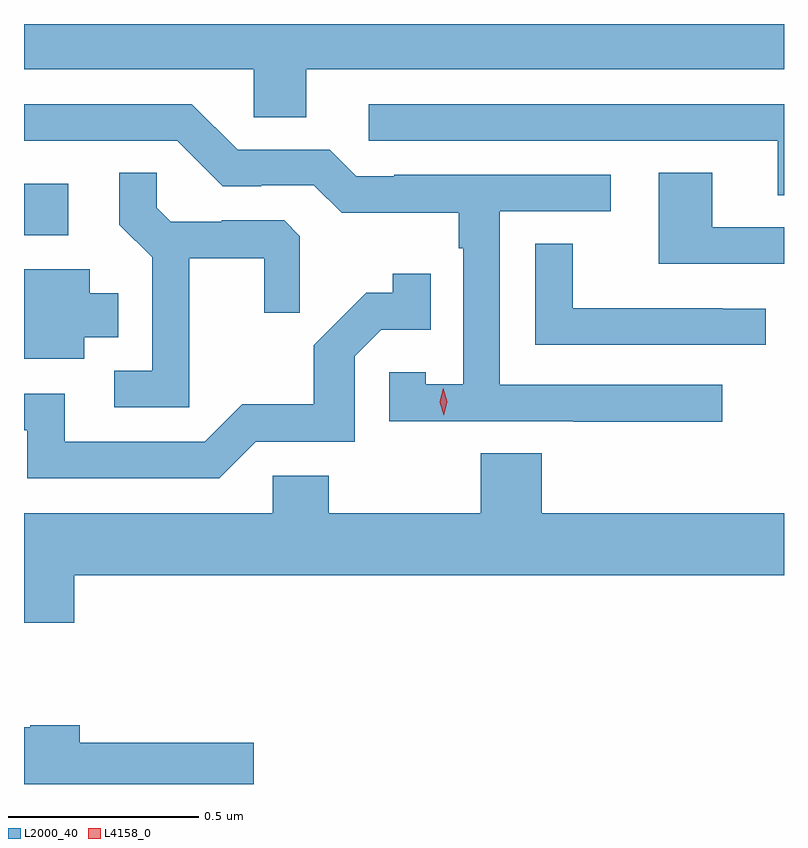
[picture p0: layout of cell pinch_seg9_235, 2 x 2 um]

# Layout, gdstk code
import gdstk
lib = gdstk.Library(unit=1e-6, precision=1e-09)
def R(c, l, rs):  # rectangles x0, y0, x1, y1
    for r in rs: c.add(gdstk.rectangle(r[:2], r[2:], *l))
def P(c, l, *ps):  # polygons
    for p in ps: c.add(gdstk.Polygon(p, *l))
L2000_40 = (2000, 40)
L4158_0 = (4158, 0)

pinch_seg9_235 = lib.new_cell('pinch_seg9_235')
R(pinch_seg9_235, L2000_40, [(433.97,1227.951,434.086,1228.087)])
P(pinch_seg9_235, L2000_40, [(434.713,1228.388),(435.97,1228.388),(435.97,1228.507),(433.97,1228.507),(433.97,1228.388),(434.574,1228.388),(434.574,1228.261),(434.713,1228.261)],
  [(435.97,1228.296),(434.877,1228.296),(434.877,1228.2),(435.953,1228.2),(435.953,1228.057),(435.97,1228.057)],
  [(435.808,1227.558),(435.222,1227.558),(435.222,1228.014),(435.514,1228.014),(435.514,1228.11),(434.944,1228.11),(434.944,1228.107),(434.844,1228.107),(434.775,1228.176),(434.532,1228.176),(434.412,1228.296),(433.97,1228.296),(433.97,1228.2),(434.373,1228.2),(434.493,1228.08),(434.594,1228.08),(434.594,1228.083),(434.733,1228.083),(434.806,1228.01),(435.114,1228.01),(435.114,1227.917),(435.126,1227.917),(435.126,1227.559),(435.027,1227.559),(435.027,1227.591),(434.931,1227.591),(434.931,1227.462),(435.415,1227.462),(435.415,1227.46),(435.808,1227.46)],
  [(435.97,1227.972),(435.781,1227.972),(435.781,1228.115),(435.641,1228.115),(435.641,1227.876),(435.97,1227.876)],
  [(434.405,1227.89),(434.602,1227.89),(434.602,1227.747),(434.696,1227.747),(434.696,1227.949),(434.655,1227.99),(434.49,1227.99),(434.49,1227.987),(434.356,1227.987),(434.319,1228.024),(434.319,1228.115),(434.221,1228.115),(434.221,1227.979),(434.307,1227.893),(434.307,1227.594),(434.208,1227.594),(434.208,1227.498),(434.405,1227.498)],
  [(435.922,1227.758),(435.809,1227.758),(435.809,1227.759),(435.414,1227.759),(435.414,1227.929),(435.315,1227.929),(435.315,1227.663),(435.922,1227.663)],
  [(434.128,1227.683),(434.218,1227.683),(434.218,1227.799),(434.143,1227.799),(434.143,1227.862),(433.97,1227.862),(433.97,1227.626),(434.128,1227.626)],
  [(434.58,1227.408),(434.841,1227.408),(434.841,1227.633),(434.91,1227.702),(435.041,1227.702),(435.041,1227.85),(434.94,1227.85),(434.94,1227.8),(434.87,1227.8),(434.733,1227.662),(434.733,1227.507),(434.544,1227.507),(434.445,1227.408),(434.077,1227.408),(434.077,1227.534),(433.97,1227.534),(433.97,1227.438),(433.979,1227.438),(433.979,1227.312),(434.484,1227.312)],
  [(434.102,1227.056),(435.97,1227.056),(435.97,1227.22),(435.332,1227.22),(435.332,1227.377),(435.172,1227.377),(435.172,1227.22),(434.772,1227.22),(434.772,1227.318),(434.625,1227.318),(434.625,1227.22),(433.97,1227.22),(433.97,1226.932),(434.102,1226.932)],
  [(434.575,1226.616),(434.117,1226.616),(434.117,1226.662),(433.986,1226.662),(433.986,1226.656),(433.97,1226.656),(433.97,1226.507),(434.575,1226.507)])
P(pinch_seg9_235, L4158_0, [(435.074,1227.477),(435.074,1227.477),(435.064,1227.513),(435.073,1227.549),(435.073,1227.549),(435.073,1227.549),(435.084,1227.513),(435.075,1227.477)])

lib.write_gds('pinch_seg9_235.gds')
